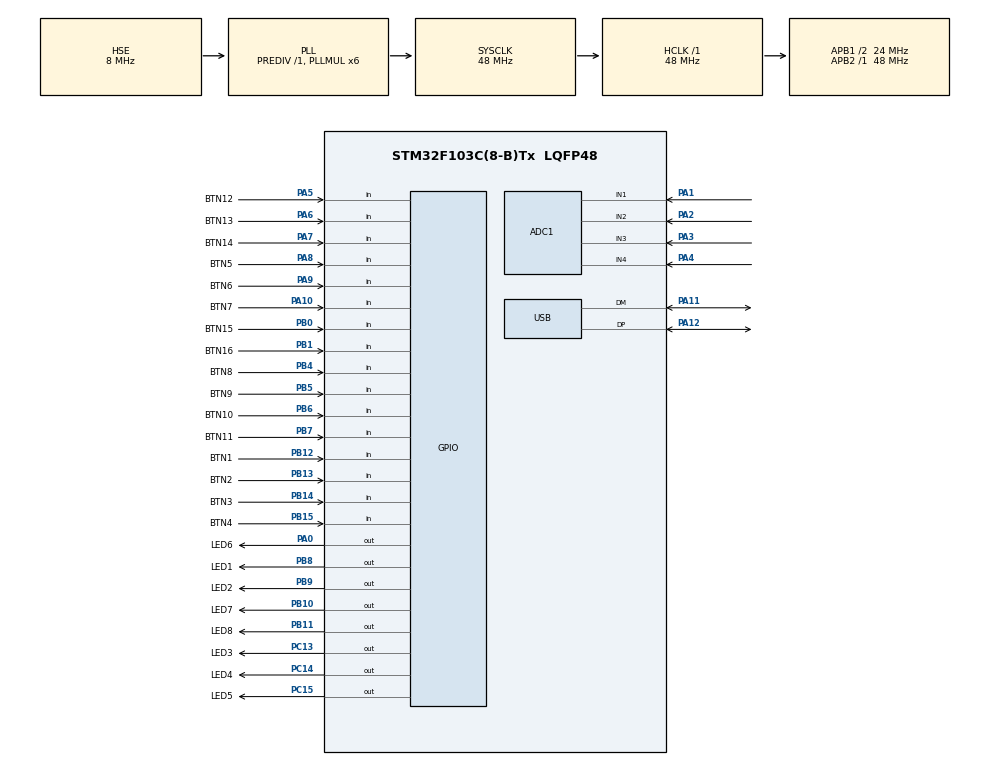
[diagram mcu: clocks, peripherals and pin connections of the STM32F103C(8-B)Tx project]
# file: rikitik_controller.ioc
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ADC1.Channel-0\#ChannelRegularConversion=ADC_CHANNEL_1
ADC1.ContinuousConvMode=ENABLE
ADC1.ExternalTrigConv=ADC_SOFTWARE_START
ADC1.NbrOfConversion=1
ADC1.NbrOfConversionFlag=1
ADC1.Rank-0\#ChannelRegularConversion=1
ADC1.SamplingTime-0\#ChannelRegularConversion=ADC_SAMPLETIME_28CYCLES_5
ADC1.master=1
Mcu.Family=STM32F1
Mcu.Name=STM32F103C(8-B)Tx
Mcu.Package=LQFP48
NVIC.ADC1_2_IRQn=true\:0\:0\:false\:false\:true\:true\:true\:true
NVIC.PriorityGroup=NVIC_PRIORITYGROUP_4
NVIC.TIM1_UP_IRQn=true\:0\:0\:false\:false\:true\:true\:true\:true
NVIC.USB_HP_CAN1_TX_IRQn=true\:0\:0\:false\:false\:true\:true\:true\:true
NVIC.USB_LP_CAN1_RX0_IRQn=true\:0\:0\:false\:false\:true\:true\:true\:true
PA0-WKUP.GPIO_Label=LED6
PA0-WKUP.Signal=GPIO_Output
PA1.Signal=ADCx_IN1
PA10.GPIO_Label=BTN7
PA10.GPIO_PuPd=GPIO_PULLUP
PA10.Signal=GPIO_Input
PA11.Mode=Device
PA11.Signal=USB_DM
PA12.Mode=Device
PA12.Signal=USB_DP
PA13.Mode=JTAG_4_pins
PA13.Signal=SYS_JTMS-SWDIO
PA14.Mode=JTAG_4_pins
PA14.Signal=SYS_JTCK-SWCLK
PA15.Mode=JTAG_4_pins
PA15.Signal=SYS_JTDI
PA2.Signal=ADCx_IN2
PA3.Signal=ADCx_IN3
PA4.Signal=ADCx_IN4
PA5.GPIO_Label=BTN12
PA5.GPIO_PuPd=GPIO_PULLUP
PA5.Signal=GPIO_Input
PA6.GPIO_Label=BTN13
PA6.GPIO_PuPd=GPIO_PULLUP
PA6.Signal=GPIO_Input
PA7.GPIO_Label=BTN14
PA7.GPIO_PuPd=GPIO_PULLUP
PA7.Signal=GPIO_Input
PA8.GPIO_Label=BTN5
PA8.GPIO_PuPd=GPIO_PULLUP
PA8.Signal=GPIO_Input
PA9.GPIO_Label=BTN6
PA9.GPIO_PuPd=GPIO_PULLUP
PA9.Signal=GPIO_Input
PB0.GPIO_Label=BTN15
PB0.GPIO_PuPd=GPIO_PULLUP
PB0.Signal=GPIO_Input
PB1.GPIO_Label=BTN16
PB1.GPIO_PuPd=GPIO_PULLUP
PB1.Signal=GPIO_Input
PB10.GPIO_Label=LED7
PB10.Signal=GPIO_Output
PB11.GPIO_Label=LED8
PB11.Signal=GPIO_Output
PB12.GPIO_Label=BTN1
PB12.GPIO_PuPd=GPIO_PULLUP
PB12.Signal=GPIO_Input
PB13.GPIO_Label=BTN2
PB13.GPIO_PuPd=GPIO_PULLUP
PB13.Signal=GPIO_Input
PB14.GPIO_Label=BTN3
PB14.GPIO_PuPd=GPIO_PULLUP
PB14.Signal=GPIO_Input
PB15.GPIO_Label=BTN4
PB15.GPIO_PuPd=GPIO_PULLUP
PB15.Signal=GPIO_Input
PB3.Mode=JTAG_4_pins
PB3.Signal=SYS_JTDO-TRACESWO
PB4.GPIO_Label=BTN8
PB4.GPIO_PuPd=GPIO_PULLUP
PB4.Signal=GPIO_Input
PB5.GPIO_Label=BTN9
PB5.GPIO_PuPd=GPIO_PULLUP
PB5.Signal=GPIO_Input
PB6.GPIO_Label=BTN10
PB6.GPIO_PuPd=GPIO_PULLUP
PB6.Signal=GPIO_Input
PB7.GPIO_Label=BTN11
PB7.GPIO_PuPd=GPIO_PULLUP
PB7.Signal=GPIO_Input
PB8.GPIO_Label=LED1
PB8.Signal=GPIO_Output
PB9.GPIO_Label=LED2
PB9.Signal=GPIO_Output
PC13-TAMPER-RTC.GPIO_Label=LED3
PC13-TAMPER-RTC.Signal=GPIO_Output
PC14-OSC32_IN.GPIO_Label=LED4
PC14-OSC32_IN.Signal=GPIO_Output
PC15-OSC32_OUT.GPIO_Label=LED5
PC15-OSC32_OUT.Signal=GPIO_Output
PD0-OSC_IN.Mode=HSE-External-Oscillator
PD0-OSC_IN.Signal=RCC_OSC_IN
PD1-OSC_OUT.Mode=HSE-External-Oscillator
PD1-OSC_OUT.Signal=RCC_OSC_OUT
ProjectManager.HeapSize=0x200
ProjectManager.StackSize=0x400
ProjectManager.TargetToolchain=STM32CubeIDE
RCC.ADCPresc=RCC_ADCPCLK2_DIV4
RCC.AHBFreq_Value=48000000
RCC.APB1CLKDivider=RCC_HCLK_DIV2
RCC.APB1Freq_Value=24000000
RCC.APB1TimFreq_Value=48000000
RCC.APB2Freq_Value=48000000
RCC.APB2TimFreq_Value=48000000
RCC.HCLKFreq_Value=48000000
RCC.PLLMUL=RCC_PLL_MUL6
RCC.SYSCLKFreq_VALUE=48000000
RCC.SYSCLKSource=RCC_SYSCLKSOURCE_PLLCLK
RCC.USBFreq_Value=48000000
SH.ADCx_IN1.0=ADC1_IN1,IN1
SH.ADCx_IN2.0=ADC1_IN2,IN2
SH.ADCx_IN3.0=ADC1_IN3,IN3
SH.ADCx_IN4.0=ADC1_IN4,IN4
TIM1.AutoReloadPreload=TIM_AUTORELOAD_PRELOAD_ENABLE
TIM1.Channel-Output\ Compare1\ No\ Output=TIM_CHANNEL_1
TIM1.Period=10000-1
TIM1.Prescaler=48-1
USB_DEVICE.CLASS_NAME_FS=CUSTOM_HID
USB_DEVICE.CUSTOM_HID_FS_BINTERVAL=0x0A
USB_DEVICE.MANUFACTURER_STRING=Rikitik
USB_DEVICE.PRODUCT_STRING_CUSTOMHID_FS=Rikitik Controller
USB_DEVICE.USBD_CUSTOMHID_OUTREPORT_BUF_SIZE=4
USB_DEVICE.USBD_CUSTOM_HID_REPORT_DESC_SIZE=62
USB_DEVICE.USBD_MAX_NUM_CONFIGURATION=1
USB_DEVICE.USBD_MAX_NUM_INTERFACES=1
USB_DEVICE.VID=3996
USB_DEVICE.VirtualMode=CustomHid
USB_DEVICE.VirtualModeFS=Custom_Hid_FS
VP_TIM1_VS_ClockSourceINT.Mode=Internal
VP_TIM1_VS_no_output1.Mode=Output Compare1 No Output
VP_USB_DEVICE_VS_USB_DEVICE_CUSTOM_HID_FS.Mode=CUSTOM_HID_FS
board=custom

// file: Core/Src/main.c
/* USER CODE BEGIN Header */
/**
  ******************************************************************************
  * @file           : main.c
  * @brief          : Main program body
  ******************************************************************************
  * @attention
  *
  * Copyright (c) 2025 STMicroelectronics.
  * All rights reserved.
  *
  * This software is licensed under terms that can be found in the LICENSE file
  * in the root directory of this software component.
  * If no LICENSE file comes with this software, it is provided AS-IS.
  *
  ******************************************************************************
  */

// See CUSTOM_HID_ReportDesc_FS for the HID Device Descriptor

/* USER CODE END Header */
#include "main.h"
#include "usb_device.h"

ADC_HandleTypeDef hadc1;

TIM_HandleTypeDef htim1;

void SystemClock_Config(void);
static void MX_GPIO_Init(void);
static void MX_ADC1_Init(void);
static void MX_TIM1_Init(void);

/* USER CODE BEGIN 0 */
extern USBD_HandleTypeDef hUsbDeviceFS;
typedef struct {
	int8_t left_x;
	int8_t left_y;
	int8_t right_x;
	int8_t right_y;
	uint16_t buttons;

} joystick_report;

joystick_report joystick_report_container;

int adc_conv_done = 1;
volatile int current_channel = 0;
void Next_ADC_Channel()
{
    uint32_t channel;
    current_channel++;
    if (current_channel >= 4) {
    	current_channel = 0;
    }

    switch (current_channel) {
    	case 0:
    		channel = ADC_CHANNEL_1;
    		break;
    	case 1:
    		channel = ADC_CHANNEL_2;
    		break;
    	case 2:
    		channel = ADC_CHANNEL_3;
    		break;
    	case 3:
    		channel = ADC_CHANNEL_4;
    		break;
    	default:
    		channel = ADC_CHANNEL_1;
    		break;
    }

    ADC_ChannelConfTypeDef sConfig = {0};
    // Configure the selected ADC channel
    sConfig.Channel = channel;
    sConfig.Rank = ADC_REGULAR_RANK_1;
    sConfig.SamplingTime = ADC_SAMPLETIME_55CYCLES_5;
    if (HAL_ADC_ConfigChannel(&hadc1, &sConfig) != HAL_OK)
    {
      Error_Handler();
    }

    if (current_channel >= 3) {
		HAL_ADC_Stop_IT(&hadc1);
		adc_conv_done = 1;
	}
}

void HAL_ADC_ConvCpltCallback(ADC_HandleTypeDef* hadc) {
	int8_t value = (int8_t) (HAL_ADC_GetValue(&hadc1) >> 4) - 128;
	if (value == -128) {
		value = -127;
	}
	switch (current_channel) {
		case 0:
			joystick_report_container.left_x = value;
			break;
		case 1:
			joystick_report_container.left_y = value;
			break;
		case 2:
			joystick_report_container.right_x = value;
			break;
		case 3:
			joystick_report_container.right_y = value;
			break;
		default:
			break;
	}
	Next_ADC_Channel();
}

extern uint8_t USBD_CUSTOM_HID_SendReport();
void sendReport()
{
	 USBD_CUSTOM_HID_SendReport(&hUsbDeviceFS, (uint8_t *) &joystick_report_container, 6);
}

void HAL_TIM_PeriodElapsedCallback(TIM_HandleTypeDef *htim)
{
	sendReport();
}

typedef enum
{
  CUSTOM_HID_IDLE = 0U,
  CUSTOM_HID_BUSY,
}
CUSTOM_HID_StateTypeDef;

typedef struct
{
  uint8_t              Report_buf[USBD_CUSTOMHID_OUTREPORT_BUF_SIZE];
  uint32_t             Protocol;
  uint32_t             IdleState;
  uint32_t             AltSetting;
  uint32_t             IsReportAvailable;
  CUSTOM_HID_StateTypeDef     state;
}
USBD_CUSTOM_HID_HandleTypeDef;

/* USER CODE END 0 */

int main(void)
{

  /* MCU Configuration--------------------------------------------------------*/

  /* Reset of all peripherals, Initializes the Flash interface and the Systick. */
  HAL_Init();

  /* Configure the system clock */
  SystemClock_Config();

  /* Initialize all configured peripherals */
  MX_GPIO_Init();
  MX_ADC1_Init();
  MX_TIM1_Init();
  MX_USB_DEVICE_Init();
  /* USER CODE BEGIN 2 */
  HAL_TIM_Base_Start_IT(&htim1);
  /* USER CODE END 2 */

  /* Infinite loop */
  /* USER CODE BEGIN WHILE */
  while (1)
  {
	if (adc_conv_done) {
		HAL_ADC_Start_IT(&hadc1);
		adc_conv_done = 0;
	}

	uint16_t buttons = 0;
	buttons |= !HAL_GPIO_ReadPin(BTN1_GPIO_Port, BTN1_Pin) << 0;
	buttons |= !HAL_GPIO_ReadPin(BTN2_GPIO_Port, BTN2_Pin) << 1;
	buttons |= !HAL_GPIO_ReadPin(BTN3_GPIO_Port, BTN3_Pin) << 2;
	buttons |= !HAL_GPIO_ReadPin(BTN4_GPIO_Port, BTN4_Pin) << 3;
	buttons |= !HAL_GPIO_ReadPin(BTN5_GPIO_Port, BTN5_Pin) << 4;
	buttons |= !HAL_GPIO_ReadPin(BTN6_GPIO_Port, BTN6_Pin) << 5;
	buttons |= !HAL_GPIO_ReadPin(BTN7_GPIO_Port, BTN7_Pin) << 6;
	buttons |= !HAL_GPIO_ReadPin(BTN8_GPIO_Port, BTN8_Pin) << 7;
	buttons |= !HAL_GPIO_ReadPin(BTN9_GPIO_Port, BTN9_Pin) << 8;
	buttons |= !HAL_GPIO_ReadPin(BTN10_GPIO_Port, BTN10_Pin) << 9;
	buttons |= !HAL_GPIO_ReadPin(BTN11_GPIO_Port, BTN11_Pin) << 10;
	buttons |= !HAL_GPIO_ReadPin(BTN12_GPIO_Port, BTN12_Pin) << 11;
	buttons |= !HAL_GPIO_ReadPin(BTN13_GPIO_Port, BTN13_Pin) << 12;
	buttons |= !HAL_GPIO_ReadPin(BTN14_GPIO_Port, BTN14_Pin) << 13;
	buttons |= !HAL_GPIO_ReadPin(BTN15_GPIO_Port, BTN15_Pin) << 14;
	buttons |= !HAL_GPIO_ReadPin(BTN16_GPIO_Port, BTN16_Pin) << 15;
	joystick_report_container.buttons = buttons;

	// Access the incoming data buffer
	USBD_CUSTOM_HID_HandleTypeDef *hhid = (USBD_CUSTOM_HID_HandleTypeDef *)hUsbDeviceFS.pClassData;
	HAL_GPIO_WritePin(LED1_GPIO_Port, LED1_Pin, (hhid->Report_buf[0] >> 0) & 0x01);
	HAL_GPIO_WritePin(LED2_GPIO_Port, LED2_Pin, (hhid->Report_buf[0] >> 1) & 0x01);
	HAL_GPIO_WritePin(LED3_GPIO_Port, LED3_Pin, (hhid->Report_buf[0] >> 2) & 0x01);
	HAL_GPIO_WritePin(LED4_GPIO_Port, LED4_Pin, (hhid->Report_buf[0] >> 3) & 0x01);
	HAL_GPIO_WritePin(LED5_GPIO_Port, LED5_Pin, (hhid->Report_buf[0] >> 4) & 0x01);
	HAL_GPIO_WritePin(LED6_GPIO_Port, LED6_Pin, (hhid->Report_buf[0] >> 5) & 0x01);
	HAL_GPIO_WritePin(LED7_GPIO_Port, LED7_Pin, (hhid->Report_buf[0] >> 6) & 0x01);
	HAL_GPIO_WritePin(LED8_GPIO_Port, LED8_Pin, (hhid->Report_buf[0] >> 7) & 0x01);

	HAL_Delay(5);
    /* USER CODE END WHILE */

  }
}

void SystemClock_Config(void)
{
  RCC_OscInitTypeDef RCC_OscInitStruct = {0};
  RCC_ClkInitTypeDef RCC_ClkInitStruct = {0};
  RCC_PeriphCLKInitTypeDef PeriphClkInit = {0};

  /** Initializes the RCC Oscillators according to the specified parameters
  * in the RCC_OscInitTypeDef structure.
  */
  RCC_OscInitStruct.OscillatorType = RCC_OSCILLATORTYPE_HSE;
  RCC_OscInitStruct.HSEState = RCC_HSE_ON;
  RCC_OscInitStruct.HSEPredivValue = RCC_HSE_PREDIV_DIV1;
  RCC_OscInitStruct.HSIState = RCC_HSI_ON;
  RCC_OscInitStruct.PLL.PLLState = RCC_PLL_ON;
  RCC_OscInitStruct.PLL.PLLSource = RCC_PLLSOURCE_HSE;
  RCC_OscInitStruct.PLL.PLLMUL = RCC_PLL_MUL6;
  if (HAL_RCC_OscConfig(&RCC_OscInitStruct) != HAL_OK)
  {
    Error_Handler();
  }

  /** Initializes the CPU, AHB and APB buses clocks
  */
  RCC_ClkInitStruct.ClockType = RCC_CLOCKTYPE_HCLK|RCC_CLOCKTYPE_SYSCLK
                              |RCC_CLOCKTYPE_PCLK1|RCC_CLOCKTYPE_PCLK2;
  RCC_ClkInitStruct.SYSCLKSource = RCC_SYSCLKSOURCE_PLLCLK;
  RCC_ClkInitStruct.AHBCLKDivider = RCC_SYSCLK_DIV1;
  RCC_ClkInitStruct.APB1CLKDivider = RCC_HCLK_DIV2;
  RCC_ClkInitStruct.APB2CLKDivider = RCC_HCLK_DIV1;

  if (HAL_RCC_ClockConfig(&RCC_ClkInitStruct, FLASH_LATENCY_1) != HAL_OK)
  {
    Error_Handler();
  }
  PeriphClkInit.PeriphClockSelection = RCC_PERIPHCLK_ADC|RCC_PERIPHCLK_USB;
  PeriphClkInit.AdcClockSelection = RCC_ADCPCLK2_DIV4;
  PeriphClkInit.UsbClockSelection = RCC_USBCLKSOURCE_PLL;
  if (HAL_RCCEx_PeriphCLKConfig(&PeriphClkInit) != HAL_OK)
  {
    Error_Handler();
  }
}

static void MX_ADC1_Init(void)
{

  ADC_ChannelConfTypeDef sConfig = {0};

  /** Common config
  */
  hadc1.Instance = ADC1;
  hadc1.Init.ScanConvMode = ADC_SCAN_DISABLE;
  hadc1.Init.ContinuousConvMode = ENABLE;
  hadc1.Init.DiscontinuousConvMode = DISABLE;
  hadc1.Init.ExternalTrigConv = ADC_SOFTWARE_START;
  hadc1.Init.DataAlign = ADC_DATAALIGN_RIGHT;
  hadc1.Init.NbrOfConversion = 1;
  if (HAL_ADC_Init(&hadc1) != HAL_OK)
  {
    Error_Handler();
  }

  /** Configure Regular Channel
  */
  sConfig.Channel = ADC_CHANNEL_1;
  sConfig.Rank = ADC_REGULAR_RANK_1;
  sConfig.SamplingTime = ADC_SAMPLETIME_28CYCLES_5;
  if (HAL_ADC_ConfigChannel(&hadc1, &sConfig) != HAL_OK)
  {
    Error_Handler();
  }

}

static void MX_TIM1_Init(void)
{

  TIM_ClockConfigTypeDef sClockSourceConfig = {0};
  TIM_MasterConfigTypeDef sMasterConfig = {0};
  TIM_OC_InitTypeDef sConfigOC = {0};
  TIM_BreakDeadTimeConfigTypeDef sBreakDeadTimeConfig = {0};

  htim1.Instance = TIM1;
  htim1.Init.Prescaler = 48-1;
  htim1.Init.CounterMode = TIM_COUNTERMODE_UP;
  htim1.Init.Period = 10000-1;
  htim1.Init.ClockDivision = TIM_CLOCKDIVISION_DIV1;
  htim1.Init.RepetitionCounter = 0;
  htim1.Init.AutoReloadPreload = TIM_AUTORELOAD_PRELOAD_ENABLE;
  if (HAL_TIM_Base_Init(&htim1) != HAL_OK)
  {
    Error_Handler();
  }
  sClockSourceConfig.ClockSource = TIM_CLOCKSOURCE_INTERNAL;
  if (HAL_TIM_ConfigClockSource(&htim1, &sClockSourceConfig) != HAL_OK)
  {
    Error_Handler();
  }
  if (HAL_TIM_OC_Init(&htim1) != HAL_OK)
  {
    Error_Handler();
  }
  sMasterConfig.MasterOutputTrigger = TIM_TRGO_RESET;
  sMasterConfig.MasterSlaveMode = TIM_MASTERSLAVEMODE_DISABLE;
  if (HAL_TIMEx_MasterConfigSynchronization(&htim1, &sMasterConfig) != HAL_OK)
  {
    Error_Handler();
  }
  sConfigOC.OCMode = TIM_OCMODE_TIMING;
  sConfigOC.Pulse = 0;
  sConfigOC.OCPolarity = TIM_OCPOLARITY_HIGH;
  sConfigOC.OCNPolarity = TIM_OCNPOLARITY_HIGH;
  sConfigOC.OCFastMode = TIM_OCFAST_DISABLE;
  sConfigOC.OCIdleState = TIM_OCIDLESTATE_RESET;
  sConfigOC.OCNIdleState = TIM_OCNIDLESTATE_RESET;
  if (HAL_TIM_OC_ConfigChannel(&htim1, &sConfigOC, TIM_CHANNEL_1) != HAL_OK)
  {
    Error_Handler();
  }
  sBreakDeadTimeConfig.OffStateRunMode = TIM_OSSR_DISABLE;
  sBreakDeadTimeConfig.OffStateIDLEMode = TIM_OSSI_DISABLE;
  sBreakDeadTimeConfig.LockLevel = TIM_LOCKLEVEL_OFF;
  sBreakDeadTimeConfig.DeadTime = 0;
  sBreakDeadTimeConfig.BreakState = TIM_BREAK_DISABLE;
  sBreakDeadTimeConfig.BreakPolarity = TIM_BREAKPOLARITY_HIGH;
  sBreakDeadTimeConfig.AutomaticOutput = TIM_AUTOMATICOUTPUT_DISABLE;
  if (HAL_TIMEx_ConfigBreakDeadTime(&htim1, &sBreakDeadTimeConfig) != HAL_OK)
  {
    Error_Handler();
  }

}

static void MX_GPIO_Init(void)
{
  GPIO_InitTypeDef GPIO_InitStruct = {0};

  /* GPIO Ports Clock Enable */
  __HAL_RCC_GPIOC_CLK_ENABLE();
  __HAL_RCC_GPIOD_CLK_ENABLE();
  __HAL_RCC_GPIOA_CLK_ENABLE();
  __HAL_RCC_GPIOB_CLK_ENABLE();

  /*Configure GPIO pin Output Level */
  HAL_GPIO_WritePin(GPIOC, LED3_Pin|LED4_Pin|LED5_Pin, GPIO_PIN_RESET);

  /*Configure GPIO pin Output Level */
  HAL_GPIO_WritePin(LED6_GPIO_Port, LED6_Pin, GPIO_PIN_RESET);

  /*Configure GPIO pin Output Level */
  HAL_GPIO_WritePin(GPIOB, LED7_Pin|LED8_Pin|LED1_Pin|LED2_Pin, GPIO_PIN_RESET);

  /*Configure GPIO pins : LED3_Pin LED4_Pin LED5_Pin */
  GPIO_InitStruct.Pin = LED3_Pin|LED4_Pin|LED5_Pin;
  GPIO_InitStruct.Mode = GPIO_MODE_OUTPUT_PP;
  GPIO_InitStruct.Pull = GPIO_NOPULL;
  GPIO_InitStruct.Speed = GPIO_SPEED_FREQ_LOW;
  HAL_GPIO_Init(GPIOC, &GPIO_InitStruct);

  /*Configure GPIO pin : LED6_Pin */
  GPIO_InitStruct.Pin = LED6_Pin;
  GPIO_InitStruct.Mode = GPIO_MODE_OUTPUT_PP;
  GPIO_InitStruct.Pull = GPIO_NOPULL;
  GPIO_InitStruct.Speed = GPIO_SPEED_FREQ_LOW;
  HAL_GPIO_Init(LED6_GPIO_Port, &GPIO_InitStruct);

  /*Configure GPIO pins : BTN12_Pin BTN13_Pin BTN14_Pin BTN5_Pin
                           BTN6_Pin BTN7_Pin */
  GPIO_InitStruct.Pin = BTN12_Pin|BTN13_Pin|BTN14_Pin|BTN5_Pin
                          |BTN6_Pin|BTN7_Pin;
  GPIO_InitStruct.Mode = GPIO_MODE_INPUT;
  GPIO_InitStruct.Pull = GPIO_PULLUP;
  HAL_GPIO_Init(GPIOA, &GPIO_InitStruct);

  /*Configure GPIO pins : BTN15_Pin BTN16_Pin BTN1_Pin BTN2_Pin
                           BTN3_Pin BTN4_Pin BTN8_Pin BTN9_Pin
                           BTN10_Pin BTN11_Pin */
  GPIO_InitStruct.Pin = BTN15_Pin|BTN16_Pin|BTN1_Pin|BTN2_Pin
                          |BTN3_Pin|BTN4_Pin|BTN8_Pin|BTN9_Pin
                          |BTN10_Pin|BTN11_Pin;
  GPIO_InitStruct.Mode = GPIO_MODE_INPUT;
  GPIO_InitStruct.Pull = GPIO_PULLUP;
  HAL_GPIO_Init(GPIOB, &GPIO_InitStruct);

  /*Configure GPIO pins : LED7_Pin LED8_Pin LED1_Pin LED2_Pin */
  GPIO_InitStruct.Pin = LED7_Pin|LED8_Pin|LED1_Pin|LED2_Pin;
  GPIO_InitStruct.Mode = GPIO_MODE_OUTPUT_PP;
  GPIO_InitStruct.Pull = GPIO_NOPULL;
  GPIO_InitStruct.Speed = GPIO_SPEED_FREQ_LOW;
  HAL_GPIO_Init(GPIOB, &GPIO_InitStruct);

}

void Error_Handler(void)
{
  __disable_irq();
  while (1)
  {
  }
}
